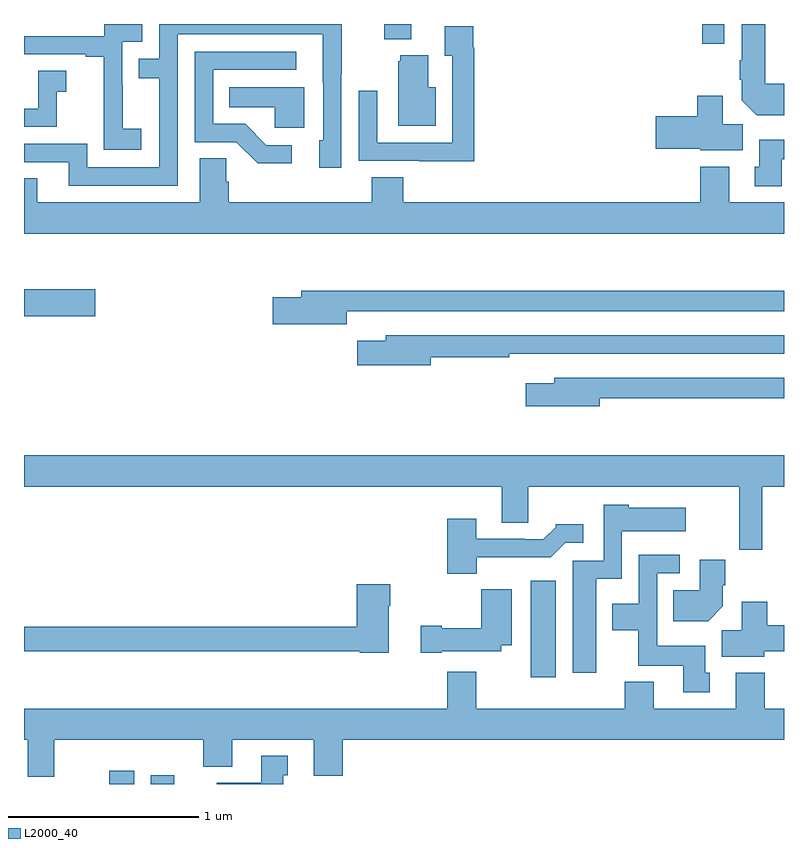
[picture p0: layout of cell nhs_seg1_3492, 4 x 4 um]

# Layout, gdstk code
import gdstk
lib = gdstk.Library(unit=1e-6, precision=1e-09)
def R(c, l, rs):  # rectangles x0, y0, x1, y1
    for r in rs: c.add(gdstk.rectangle(r[:2], r[2:], *l))
def P(c, l, *ps):  # polygons
    for p in ps: c.add(gdstk.Polygon(p, *l))
L2000_40 = (2000, 40)

nhs_seg1_3492 = lib.new_cell('nhs_seg1_3492')
R(nhs_seg1_3492, L2000_40, [(301.448,518.199,301.579,518.269), (301.667,518.199,301.792,518.245), (303.668,518.76,303.799,519.268), (301,520.661,301.375,520.803), (304.57,522.096,304.686,522.199), (302.897,522.119,303.037,522.199)])
P(nhs_seg1_3492, L2000_40, [(301.618,521.647),(301.52,521.647),(301.52,521.876),(301.518,521.876),(301.518,522.105),(301.623,522.105),(301.623,522.199),(301.422,522.199),(301.422,522.135),(301,522.135),(301,522.039),(301.325,522.039),(301.325,522.027),(301.421,522.027),(301.421,521.743),(301.42,521.743),(301.42,521.537),(301.618,521.537)],
  [(301.809,522.144),(302.573,522.144),(302.573,521.89),(302.574,521.89),(302.574,521.586),(302.555,521.586),(302.555,521.442),(302.67,521.442),(302.67,521.935),(302.673,521.935),(302.673,522.199),(301.713,522.199),(301.713,522.015),(301.603,522.015),(301.603,521.914),(301.713,521.914),(301.713,521.445),(301.332,521.445),(301.332,521.568),(301,521.568),(301,521.472),(301.235,521.472),(301.235,521.349),(301.809,521.349)],
  [(305,521.884),(304.9,521.884),(304.9,522.199),(304.778,522.199),(304.778,522.008),(304.766,522.008),(304.766,521.905),(304.778,521.905),(304.778,521.798),(304.856,521.72),(305,521.72)],
  [(303.371,522.074),(303.364,522.074),(303.364,522.187),(303.215,522.187),(303.215,522.031),(303.255,522.031),(303.255,521.574),(302.859,521.574),(302.859,521.847),(302.763,521.847),(302.763,521.478),(303.079,521.478),(303.079,521.477),(303.371,521.477)],
  [(302.41,521.562),(302.275,521.562),(302.164,521.673),(301.995,521.673),(301.995,521.958),(302.434,521.958),(302.434,522.054),(301.899,522.054),(301.899,521.577),(302.118,521.577),(302.231,521.465),(302.41,521.465)],
  [(303.166,521.866),(303.127,521.866),(303.127,522.034),(302.981,522.034),(302.981,522.003),(302.969,522.003),(302.969,521.663),(303.166,521.663)],
  [(301.173,521.843),(301.222,521.843),(301.222,521.953),(301.074,521.953),(301.074,521.754),(301,521.754),(301,521.658),(301.173,521.658)],
  [(302.476,521.866),(302.08,521.866),(302.08,521.762),(302.319,521.762),(302.319,521.654),(302.476,521.654)],
  [(304.783,521.672),(304.678,521.672),(304.678,521.821),(304.544,521.821),(304.544,521.714),(304.326,521.714),(304.326,521.543),(304.56,521.543),(304.56,521.534),(304.783,521.534)],
  [(304.987,521.486),(305,521.486),(305,521.59),(304.871,521.59),(304.871,521.448),(304.847,521.448),(304.847,521.346),(304.987,521.346)],
  [(305,521.26),(304.711,521.26),(304.711,521.449),(304.559,521.449),(304.559,521.26),(302.996,521.26),(302.996,521.393),(302.831,521.393),(302.831,521.26),(302.078,521.26),(302.078,521.369),(302.064,521.369),(302.064,521.492),(301.925,521.492),(301.925,521.26),(301.069,521.26),(301.069,521.387),(301,521.387),(301,521.096),(305,521.096)],
  [(302.698,520.686),(305,520.686),(305,520.795),(302.459,520.795),(302.459,520.761),(302.31,520.761),(302.31,520.619),(302.698,520.619)],
  [(303.142,520.444),(303.554,520.444),(303.554,520.464),(305,520.464),(305,520.56),(302.903,520.56),(302.903,520.531),(302.754,520.531),(302.754,520.402),(303.142,520.402)],
  [(304.03,520.23),(305,520.23),(305,520.338),(303.791,520.338),(303.791,520.309),(303.642,520.309),(303.642,520.187),(304.03,520.187)],
  [(304.886,519.764),(305,519.764),(305,519.928),(301,519.928),(301,519.764),(303.515,519.764),(303.515,519.574),(303.655,519.574),(303.655,519.764),(304.765,519.764),(304.765,519.432),(304.886,519.432)],
  [(304.012,519.278),(304.146,519.278),(304.146,519.53),(304.483,519.53),(304.483,519.652),(304.182,519.652),(304.182,519.67),(304.05,519.67),(304.05,519.375),(303.887,519.375),(303.887,518.784),(304.012,518.784)],
  [(303.382,519.392),(303.773,519.392),(303.849,519.468),(303.943,519.468),(303.943,519.565),(303.798,519.565),(303.798,519.55),(303.734,519.486),(303.635,519.486),(303.635,519.489),(303.379,519.489),(303.379,519.595),(303.227,519.595),(303.227,519.305),(303.382,519.305)],
  [(304.609,518.784),(304.585,518.784),(304.585,518.926),(304.332,518.926),(304.332,519.309),(304.45,519.309),(304.45,519.405),(304.236,519.405),(304.236,519.148),(304.097,519.148),(304.097,519.008),(304.234,519.008),(304.234,518.822),(304.469,518.822),(304.469,518.682),(304.609,518.682)],
  [(304.678,519.134),(304.678,519.244),(304.691,519.244),(304.691,519.379),(304.556,519.379),(304.556,519.22),(304.417,519.22),(304.417,519.056),(304.6,519.056)],
  [(302.92,519.137),(302.928,519.137),(302.928,519.25),(302.75,519.25),(302.75,519.026),(301,519.026),(301,518.898),(302.766,518.898),(302.766,518.89),(302.92,518.89)],
  [(303.199,518.897),(303.513,518.897),(303.513,518.93),(303.568,518.93),(303.568,519.223),(303.406,519.223),(303.406,519.019),(303.199,519.019),(303.199,519.032),(303.087,519.032),(303.087,518.89),(303.199,518.89)],
  [(304.896,518.897),(305,518.897),(305,519.034),(304.913,519.034),(304.913,519.157),(304.778,519.157),(304.778,519.008),(304.673,519.008),(304.673,518.87),(304.896,518.87)],
  [(301.159,518.432),(301.943,518.432),(301.943,518.291),(302.095,518.291),(302.095,518.432),(302.525,518.432),(302.525,518.243),(302.678,518.243),(302.678,518.432),(305,518.432),(305,518.596),(304.898,518.596),(304.898,518.785),(304.745,518.785),(304.745,518.596),(304.315,518.596),(304.315,518.737),(304.163,518.737),(304.163,518.596),(303.379,518.596),(303.379,518.791),(303.227,518.791),(303.227,518.596),(301,518.596),(301,518.432),(301.019,518.432),(301.019,518.238),(301.159,518.238)],
  [(302.365,518.244),(302.389,518.244),(302.389,518.347),(302.249,518.347),(302.249,518.206),(302.014,518.206),(302.014,518.199),(302.365,518.199)])

lib.write_gds('nhs_seg1_3492.gds')
